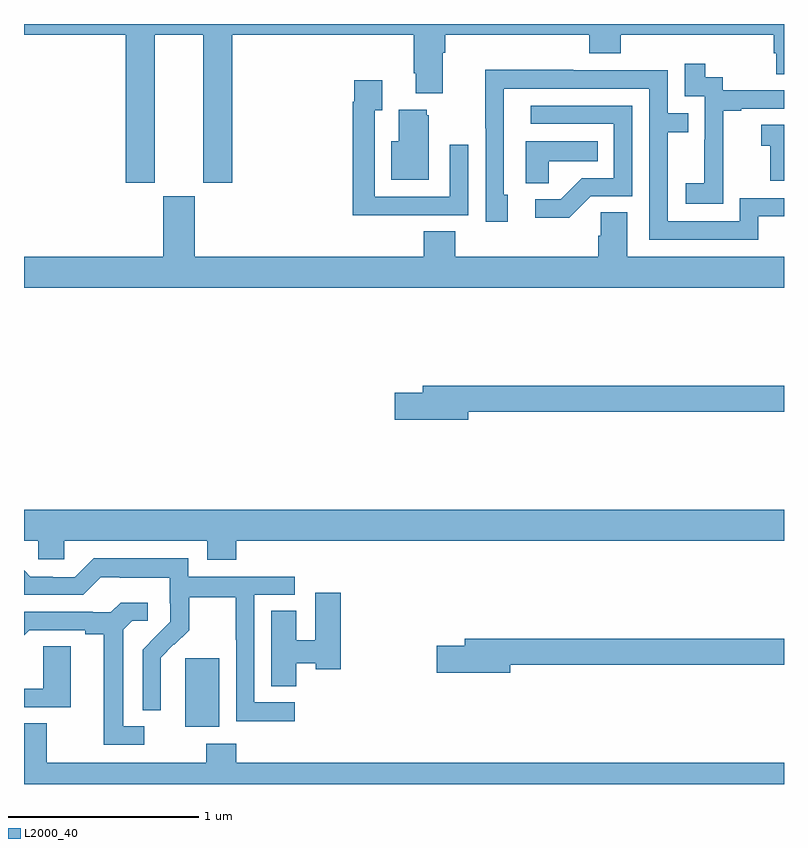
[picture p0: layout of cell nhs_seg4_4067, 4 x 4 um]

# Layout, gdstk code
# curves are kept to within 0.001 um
import gdstk
lib = gdstk.Library(unit=1e-6, precision=1e-09)
def R(c, l, rs):  # rectangles x0, y0, x1, y1
    for r in rs: c.add(gdstk.rectangle(r[:2], r[2:], *l))
def P(c, l, *ps):  # polygons
    for p in ps: c.add(gdstk.Polygon(p, *l))
L2000_40 = (2000, 40)

nhs_seg4_4067 = lib.new_cell('nhs_seg4_4067')
R(nhs_seg4_4067, L2000_40, [(327.848,769.202,328.027,769.563)])
P(nhs_seg4_4067, L2000_40, [(327,772.844),(327.536,772.844),(327.536,772.065),(327.688,772.065),(327.688,772.844),(327.944,772.844),(327.944,772.065),(328.097,772.065),(328.097,772.844),(329.051,772.844),(329.051,772.642),(329.063,772.642),(329.063,772.535),(329.203,772.535),(329.203,772.748),(329.216,772.748),(329.216,772.844),(329.975,772.844),(329.975,772.745),(330.14,772.745),(330.14,772.844),(330.947,772.844),(330.947,772.746),(330.959,772.746),(330.959,772.636),(331,772.636),(331,772.9),(327,772.9)],
  [(330.681,772.159),(330.68,772.159),(330.68,772.443),(330.775,772.443),(330.775,772.455),(331,772.455),(331,772.551),(330.678,772.551),(330.678,772.62),(330.586,772.62),(330.586,772.69),(330.477,772.69),(330.477,772.521),(330.582,772.521),(330.582,772.292),(330.581,772.292),(330.581,772.063),(330.483,772.063),(330.483,771.953),(330.681,771.953)],
  [(330.865,771.888),(331,771.888),(331,771.984),(330.768,771.984),(330.768,771.861),(330.387,771.861),(330.387,772.33),(330.497,772.33),(330.497,772.431),(330.387,772.431),(330.387,772.656),(329.891,772.656),(329.891,772.658),(329.428,772.658),(329.428,772.351),(329.43,772.351),(329.43,771.858),(329.545,771.858),(329.545,772.002),(329.526,772.002),(329.526,772.56),(330.291,772.56),(330.291,771.765),(330.865,771.765)],
  [(329.021,771.894),(329.337,771.894),(329.337,772.264),(329.241,772.264),(329.241,771.99),(328.845,771.99),(328.845,772.447),(328.885,772.447),(328.885,772.603),(328.737,772.603),(328.737,772.49),(328.729,772.49),(328.729,771.893),(329.021,771.893)],
  [(329.982,771.993),(330.201,771.993),(330.201,772.47),(329.667,772.47),(329.667,772.374),(330.105,772.374),(330.105,772.089),(329.936,772.089),(329.825,771.978),(329.691,771.978),(329.691,771.881),(329.869,771.881)],
  [(329.131,772.419),(329.12,772.419),(329.12,772.45),(328.973,772.45),(328.973,772.282),(328.934,772.282),(328.934,772.079),(329.131,772.079)],
  [(331,772.369),(330.879,772.369),(330.879,772.259),(330.928,772.259),(330.928,772.074),(331,772.074)],
  [(329.763,772.178),(330.02,772.178),(330.02,772.282),(329.642,772.282),(329.642,772.063),(329.763,772.063)],
  [(331,771.676),(330.175,771.676),(330.175,771.908),(330.036,771.908),(330.036,771.785),(330.023,771.785),(330.023,771.676),(329.27,771.676),(329.27,771.809),(329.105,771.809),(329.105,771.676),(327.898,771.676),(327.898,771.993),(327.734,771.993),(327.734,771.676),(327,771.676),(327,771.512),(331,771.512)],
  [(329.338,770.86),(331,770.86),(331,770.996),(329.099,770.996),(329.099,770.96),(328.95,770.96),(328.95,770.818),(329.338,770.818)],
  [(327,770.18),(327.075,770.18),(327.075,770.082),(327.213,770.082),(327.213,770.18),(327.965,770.18),(327.965,770.081),(328.118,770.081),(328.118,770.18),(331,770.18),(331,770.344),(327,770.344)],
  [(328.426,769.329),(328.212,769.329),(328.212,769.896),(328.426,769.896),(328.426,769.992),(327.864,769.992),(327.864,770.089),(327.367,770.089),(327.267,769.989),(327.152,769.989),(327.152,769.992),(327.033,769.992),(327,770.025),(327,769.896),(327.312,769.896),(327.405,769.989),(327.505,769.989),(327.505,769.985),(327.768,769.985),(327.768,769.851),(327.77,769.851),(327.77,769.754),(327.624,769.606),(327.624,769.288),(327.72,769.288),(327.719,769.565),(327.789,769.635),(327.792,769.632),(327.869,769.709),(327.869,769.884),(328.114,769.884),(328.114,769.66),(328.116,769.66),(328.116,769.231),(328.426,769.231)],
  [(328.432,769.535),(328.536,769.535),(328.536,769.505),(328.667,769.505),(328.667,769.906),(328.532,769.906),(328.532,769.657),(328.432,769.657),(328.432,769.811),(328.301,769.811),(328.301,769.414),(328.432,769.414)],
  [(327.634,769.203),(327.523,769.203),(327.523,769.711),(327.57,769.758),(327.652,769.758),(327.652,769.855),(327.508,769.855),(327.456,769.803),(327.362,769.803),(327.362,769.806),(327,769.806),(327,769.682),(327.028,769.71),(327.323,769.71),(327.323,769.688),(327.419,769.688),(327.419,769.107),(327.634,769.107)],
  [(329.56,769.528),(331,769.528),(331,769.664),(329.321,769.664),(329.321,769.628),(329.172,769.628),(329.172,769.486),(329.56,769.486)],
  [(327.247,769.625),(327.102,769.625),(327.102,769.401),(327,769.401),(327,769.305),(327.247,769.305)],
  [(331,769.012),(328.118,769.012),(328.118,769.111),(327.958,769.111),(327.958,769.012),(327.121,769.012),(327.121,769.22),(327,769.22),(327,768.9),(331,768.9)])

lib.write_gds('nhs_seg4_4067.gds')
